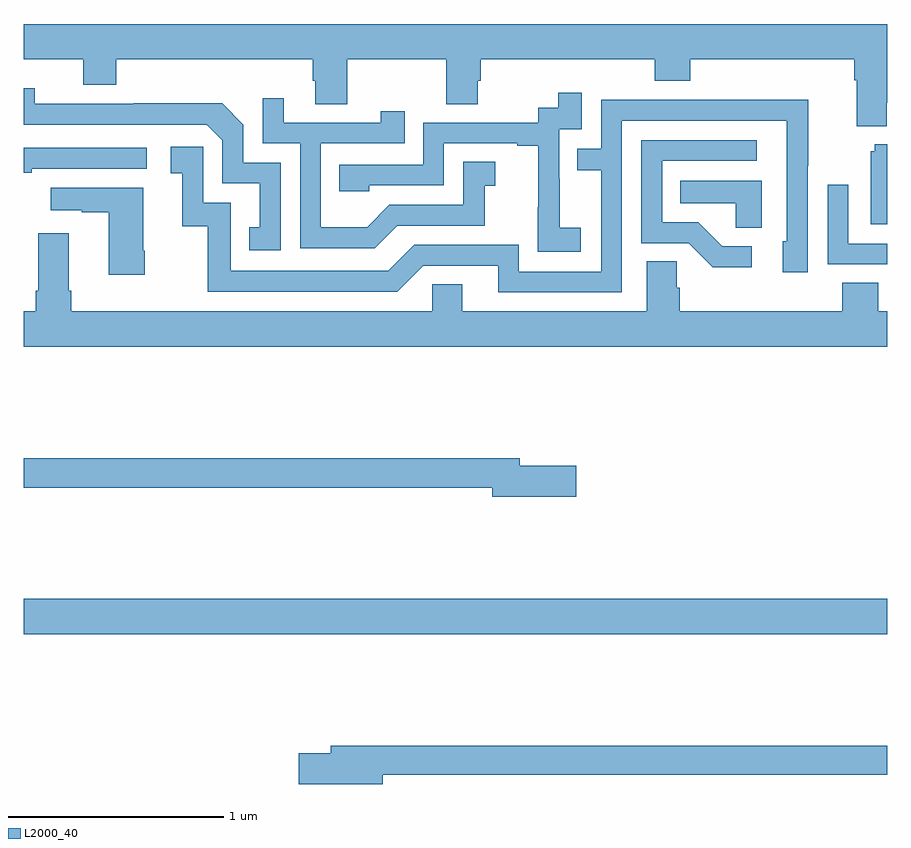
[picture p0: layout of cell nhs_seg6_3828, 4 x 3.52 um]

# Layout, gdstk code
import gdstk
lib = gdstk.Library(unit=1e-6, precision=1e-09)
def R(c, l, rs):  # rectangles x0, y0, x1, y1
    for r in rs: c.add(gdstk.rectangle(r[:2], r[2:], *l))
def P(c, l, *ps):  # polygons
    for p in ps: c.add(gdstk.Polygon(p, *l))
L2000_40 = (2000, 40)

nhs_seg6_3828 = lib.new_cell('nhs_seg6_3828')
R(nhs_seg6_3828, L2000_40, [(337,948.668,341,948.832)])
P(nhs_seg6_3828, L2000_40, [(340.999,951.13),(341,951.13),(341,951.496),(337,951.496),(337,951.332),(337.274,951.332),(337.274,951.215),(337.427,951.215),(337.427,951.332),(338.339,951.332),(338.339,951.234),(338.351,951.234),(338.351,951.124),(338.499,951.124),(338.499,951.332),(338.956,951.332),(338.956,951.124),(339.103,951.124),(339.103,951.234),(339.116,951.234),(339.116,951.332),(339.923,951.332),(339.923,951.233),(340.088,951.233),(340.088,951.332),(340.847,951.332),(340.847,951.236),(340.859,951.236),(340.859,951.023),(340.999,951.023)],
  [(338.19,950.853),(338.016,950.853),(338.016,951.03),(337.918,951.128),(337.51,951.128),(337.51,951.126),(337.05,951.126),(337.05,951.199),(337,951.199),(337,951.03),(337.848,951.03),(337.92,950.958),(337.92,950.757),(338.093,950.757),(338.093,950.553),(338.044,950.553),(338.044,950.448),(338.19,950.448)],
  [(339.58,950.551),(339.482,950.551),(339.482,950.78),(339.48,950.78),(339.48,951.009),(339.585,951.009),(339.585,951.178),(339.477,951.178),(339.477,951.108),(339.384,951.108),(339.384,951.039),(338.85,951.039),(338.85,950.844),(338.461,950.844),(338.461,950.721),(338.601,950.721),(338.601,950.748),(338.946,950.748),(338.946,950.943),(339.287,950.943),(339.287,950.931),(339.383,950.931),(339.383,950.647),(339.382,950.647),(339.382,950.441),(339.58,950.441)],
  [(338.731,950.562),(339.135,950.562),(339.135,950.747),(339.184,950.747),(339.184,950.857),(339.036,950.857),(339.036,950.658),(338.694,950.658),(338.59,950.554),(338.376,950.554),(338.376,950.943),(338.765,950.943),(338.765,951.091),(338.654,951.091),(338.654,951.039),(338.203,951.039),(338.203,951.151),(338.106,951.151),(338.106,950.943),(338.28,950.943),(338.28,950.457),(338.626,950.457)],
  [(339.771,951.048),(340.536,951.048),(340.536,950.49),(340.517,950.49),(340.517,950.346),(340.632,950.346),(340.632,950.839),(340.635,950.839),(340.635,951.146),(340.171,951.146),(340.171,951.144),(339.675,951.144),(339.675,950.919),(339.565,950.919),(339.565,950.818),(339.675,950.818),(339.675,950.349),(339.294,950.349),(339.294,950.472),(338.808,950.472),(338.688,950.352),(337.959,950.352),(337.959,950.667),(337.83,950.667),(337.83,950.926),(337.68,950.926),(337.68,950.805),(337.733,950.805),(337.733,950.559),(337.851,950.559),(337.851,950.256),(338.73,950.256),(338.85,950.376),(339.197,950.376),(339.197,950.253),(339.771,950.253)],
  [(340.372,950.466),(340.237,950.466),(340.126,950.577),(339.957,950.577),(339.957,950.862),(340.396,950.862),(340.396,950.958),(339.861,950.958),(339.861,950.481),(340.08,950.481),(340.193,950.369),(340.372,950.369)],
  [(341,950.938),(340.943,950.938),(340.943,950.907),(340.925,950.907),(340.925,950.567),(341,950.567)],
  [(337.037,950.826),(337.57,950.826),(337.57,950.922),(337,950.922),(337,950.806),(337.037,950.806)],
  [(340.42,950.77),(340.042,950.77),(340.042,950.666),(340.299,950.666),(340.299,950.551),(340.42,950.551)],
  [(341,950.478),(340.821,950.478),(340.821,950.752),(340.725,950.752),(340.725,950.382),(341,950.382)],
  [(337.56,950.446),(337.552,950.446),(337.552,950.737),(337.125,950.737),(337.125,950.633),(337.268,950.633),(337.268,950.623),(337.394,950.623),(337.394,950.334),(337.56,950.334)],
  [(341,950.164),(340.958,950.164),(340.958,950.297),(340.793,950.297),(340.793,950.164),(340.04,950.164),(340.04,950.273),(340.026,950.273),(340.026,950.396),(339.887,950.396),(339.887,950.164),(339.031,950.164),(339.031,950.291),(338.892,950.291),(338.892,950.164),(337.22,950.164),(337.22,950.26),(337.207,950.26),(337.207,950.527),(337.067,950.527),(337.067,950.26),(337.055,950.26),(337.055,950.164),(337,950.164),(337,950),(341,950)],
  [(339.559,949.448),(339.298,949.448),(339.298,949.484),(337,949.484),(337,949.348),(339.17,949.348),(339.17,949.306),(339.559,949.306)],
  [(338.662,948.016),(341,948.016),(341,948.152),(338.423,948.152),(338.423,948.116),(338.274,948.116),(338.274,947.974),(338.662,947.974)])

lib.write_gds('nhs_seg6_3828.gds')
